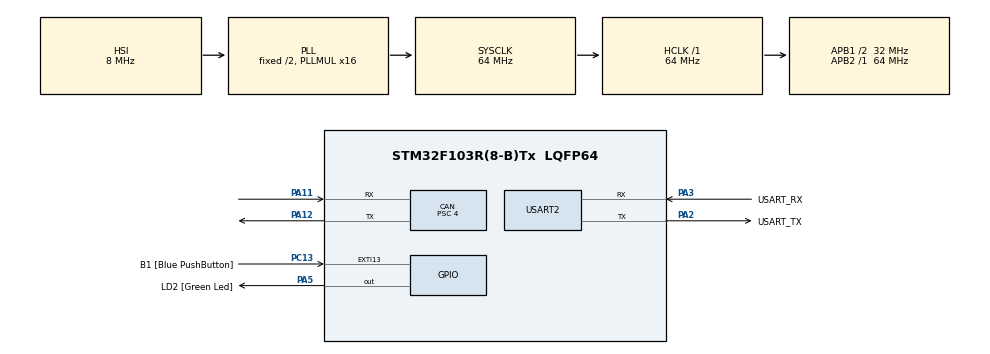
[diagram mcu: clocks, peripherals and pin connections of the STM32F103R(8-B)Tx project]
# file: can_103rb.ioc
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CAN.BS1=CAN_BS1_13TQ
CAN.BS2=CAN_BS2_2TQ
CAN.CalculateBaudRate=500000
CAN.CalculateTimeBit=2000
CAN.CalculateTimeQuantum=125.0
CAN.Prescaler=4
Mcu.Family=STM32F1
Mcu.Name=STM32F103R(8-B)Tx
Mcu.Package=LQFP64
NVIC.EXTI15_10_IRQn=true\:0\:0\:false\:false\:true\:true\:true\:true
NVIC.PriorityGroup=NVIC_PRIORITYGROUP_4
NVIC.USB_LP_CAN1_RX0_IRQn=true\:0\:0\:false\:false\:true\:true\:true\:true
PA11.Mode=CAN_Activate
PA11.Signal=CAN_RX
PA12.Mode=CAN_Activate
PA12.Signal=CAN_TX
PA13.GPIO_Label=TMS
PA13.Mode=Serial_Wire
PA13.Signal=SYS_JTMS-SWDIO
PA14.GPIO_Label=TCK
PA14.Mode=Serial_Wire
PA14.Signal=SYS_JTCK-SWCLK
PA2.GPIO_Label=USART_TX
PA2.GPIO_Mode=GPIO_MODE_AF_PP
PA2.GPIO_PuPd=GPIO_NOPULL
PA2.GPIO_Speed=GPIO_SPEED_FREQ_LOW
PA2.Mode=Asynchronous
PA2.Signal=USART2_TX
PA3.GPIO_Label=USART_RX
PA3.GPIO_Mode=GPIO_MODE_AF_PP
PA3.GPIO_PuPd=GPIO_NOPULL
PA3.GPIO_Speed=GPIO_SPEED_FREQ_LOW
PA3.Mode=Asynchronous
PA3.Signal=USART2_RX
PA5.GPIO_Label=LD2 [Green Led]
PA5.GPIO_ModeDefaultOutputPP=GPIO_MODE_OUTPUT_PP
PA5.GPIO_PuPd=GPIO_NOPULL
PA5.GPIO_Speed=GPIO_SPEED_FREQ_LOW
PA5.Signal=GPIO_Output
PB3.GPIO_Label=SWO
PB3.Signal=SYS_JTDO-TRACESWO
PC13-TAMPER-RTC.GPIO_Label=B1 [Blue PushButton]
PC13-TAMPER-RTC.GPIO_PuPd=GPIO_NOPULL
PC13-TAMPER-RTC.Signal=GPXTI13
PC14-OSC32_IN.Mode=LSE-External-Oscillator
PC14-OSC32_IN.Signal=RCC_OSC32_IN
PC15-OSC32_OUT.Mode=LSE-External-Oscillator
PC15-OSC32_OUT.Signal=RCC_OSC32_OUT
PD0-OSC_IN.Mode=HSE-External-Clock-Source
PD0-OSC_IN.Signal=RCC_OSC_IN
PD1-OSC_OUT.Mode=HSE-External-Clock-Source
PD1-OSC_OUT.Signal=RCC_OSC_OUT
ProjectManager.HeapSize=0x200
ProjectManager.StackSize=0x400
ProjectManager.TargetToolchain=STM32CubeIDE
RCC.AHBFreq_Value=64000000
RCC.APB1CLKDivider=RCC_HCLK_DIV2
RCC.APB1Freq_Value=32000000
RCC.APB1TimFreq_Value=64000000
RCC.APB2Freq_Value=64000000
RCC.APB2TimFreq_Value=64000000
RCC.HCLKFreq_Value=64000000
RCC.PLLMUL=RCC_PLL_MUL16
RCC.RTCClockSelection=RCC_RTCCLKSOURCE_LSE
RCC.SYSCLKFreq_VALUE=64000000
RCC.SYSCLKSource=RCC_SYSCLKSOURCE_PLLCLK
RCC.USBFreq_Value=64000000
USART2.VirtualMode=VM_ASYNC
board=NUCLEO-F103RB

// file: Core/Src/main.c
/* USER CODE BEGIN Header */
/**
  ******************************************************************************
  * @file           : main.c
  * @brief          : Main program body
  ******************************************************************************
  * @attention
  *
  * Copyright (c) 2025 STMicroelectronics.
  * All rights reserved.
  *
  * This software is licensed under terms that can be found in the LICENSE file
  * in the root directory of this software component.
  * If no LICENSE file comes with this software, it is provided AS-IS.
  *
  ******************************************************************************
  */
/* USER CODE END Header */
#include "main.h"

CAN_HandleTypeDef hcan;

UART_HandleTypeDef huart2;

void SystemClock_Config(void);
static void MX_GPIO_Init(void);
static void MX_USART2_UART_Init(void);
static void MX_CAN_Init(void);
/* USER CODE BEGIN PFP */
static void CAN_ConfigFilter_AcceptAll(void);
static void log(const char *s){ HAL_UART_Transmit(&huart2,(uint8_t*)s,strlen(s),100); }
/* USER CODE END PFP */

int main(void)
{

  /* MCU Configuration--------------------------------------------------------*/

  /* Reset of all peripherals, Initializes the Flash interface and the Systick. */
  HAL_Init();

  /* Configure the system clock */
  SystemClock_Config();

  /* Initialize all configured peripherals */
  MX_GPIO_Init();
  MX_USART2_UART_Init();
  MX_CAN_Init();
  /* USER CODE BEGIN 2 */
  CAN_ConfigFilter_AcceptAll();
  HAL_CAN_Start(&hcan);
  HAL_CAN_ActivateNotification(&hcan, CAN_IT_RX_FIFO0_MSG_PENDING);

  CAN_TxHeaderTypeDef txh = {0};
  txh.StdId = 0x321;      // 11-bit
  txh.ExtId = 0;
  txh.IDE   = CAN_ID_STD;
  txh.RTR   = CAN_RTR_DATA;
  txh.DLC   = 8;
  uint8_t txdata[8] = {'H','E','L','L','O','_','1','0'};
  uint32_t mail;
  /* USER CODE END 2 */

  /* Infinite loop */
  /* USER CODE BEGIN WHILE */
  while (1)
  {
	  if (HAL_CAN_AddTxMessage(&hcan, &txh, txdata, &mail) == HAL_OK){
		  log("[F103 TX] id=0x321 data=HELLO_10\r\n");
	  } else {
		  log("[F103 TX] enqueue fail\r\n");
	  }
	  HAL_Delay(1000);
    /* USER CODE END WHILE */

  }
}

void SystemClock_Config(void)
{
  RCC_OscInitTypeDef RCC_OscInitStruct = {0};
  RCC_ClkInitTypeDef RCC_ClkInitStruct = {0};

  /** Initializes the RCC Oscillators according to the specified parameters
  * in the RCC_OscInitTypeDef structure.
  */
  RCC_OscInitStruct.OscillatorType = RCC_OSCILLATORTYPE_HSI;
  RCC_OscInitStruct.HSIState = RCC_HSI_ON;
  RCC_OscInitStruct.HSICalibrationValue = RCC_HSICALIBRATION_DEFAULT;
  RCC_OscInitStruct.PLL.PLLState = RCC_PLL_ON;
  RCC_OscInitStruct.PLL.PLLSource = RCC_PLLSOURCE_HSI_DIV2;
  RCC_OscInitStruct.PLL.PLLMUL = RCC_PLL_MUL16;
  if (HAL_RCC_OscConfig(&RCC_OscInitStruct) != HAL_OK)
  {
    Error_Handler();
  }

  /** Initializes the CPU, AHB and APB buses clocks
  */
  RCC_ClkInitStruct.ClockType = RCC_CLOCKTYPE_HCLK|RCC_CLOCKTYPE_SYSCLK
                              |RCC_CLOCKTYPE_PCLK1|RCC_CLOCKTYPE_PCLK2;
  RCC_ClkInitStruct.SYSCLKSource = RCC_SYSCLKSOURCE_PLLCLK;
  RCC_ClkInitStruct.AHBCLKDivider = RCC_SYSCLK_DIV1;
  RCC_ClkInitStruct.APB1CLKDivider = RCC_HCLK_DIV2;
  RCC_ClkInitStruct.APB2CLKDivider = RCC_HCLK_DIV1;

  if (HAL_RCC_ClockConfig(&RCC_ClkInitStruct, FLASH_LATENCY_2) != HAL_OK)
  {
    Error_Handler();
  }
}

static void MX_CAN_Init(void)
{

  hcan.Instance = CAN1;
  hcan.Init.Prescaler = 4;
  hcan.Init.Mode = CAN_MODE_NORMAL;
  hcan.Init.SyncJumpWidth = CAN_SJW_1TQ;
  hcan.Init.TimeSeg1 = CAN_BS1_13TQ;
  hcan.Init.TimeSeg2 = CAN_BS2_2TQ;
  hcan.Init.TimeTriggeredMode = DISABLE;
  hcan.Init.AutoBusOff = DISABLE;
  hcan.Init.AutoWakeUp = DISABLE;
  hcan.Init.AutoRetransmission = DISABLE;
  hcan.Init.ReceiveFifoLocked = DISABLE;
  hcan.Init.TransmitFifoPriority = DISABLE;
  if (HAL_CAN_Init(&hcan) != HAL_OK)
  {
    Error_Handler();
  }

}

static void MX_USART2_UART_Init(void)
{

  huart2.Instance = USART2;
  huart2.Init.BaudRate = 115200;
  huart2.Init.WordLength = UART_WORDLENGTH_8B;
  huart2.Init.StopBits = UART_STOPBITS_1;
  huart2.Init.Parity = UART_PARITY_NONE;
  huart2.Init.Mode = UART_MODE_TX_RX;
  huart2.Init.HwFlowCtl = UART_HWCONTROL_NONE;
  huart2.Init.OverSampling = UART_OVERSAMPLING_16;
  if (HAL_UART_Init(&huart2) != HAL_OK)
  {
    Error_Handler();
  }

}

static void MX_GPIO_Init(void)
{
  GPIO_InitTypeDef GPIO_InitStruct = {0};

  /* GPIO Ports Clock Enable */
  __HAL_RCC_GPIOC_CLK_ENABLE();
  __HAL_RCC_GPIOD_CLK_ENABLE();
  __HAL_RCC_GPIOA_CLK_ENABLE();
  __HAL_RCC_GPIOB_CLK_ENABLE();

  /*Configure GPIO pin Output Level */
  HAL_GPIO_WritePin(LD2_GPIO_Port, LD2_Pin, GPIO_PIN_RESET);

  /*Configure GPIO pin : B1_Pin */
  GPIO_InitStruct.Pin = B1_Pin;
  GPIO_InitStruct.Mode = GPIO_MODE_IT_RISING;
  GPIO_InitStruct.Pull = GPIO_NOPULL;
  HAL_GPIO_Init(B1_GPIO_Port, &GPIO_InitStruct);

  /*Configure GPIO pin : LD2_Pin */
  GPIO_InitStruct.Pin = LD2_Pin;
  GPIO_InitStruct.Mode = GPIO_MODE_OUTPUT_PP;
  GPIO_InitStruct.Pull = GPIO_NOPULL;
  GPIO_InitStruct.Speed = GPIO_SPEED_FREQ_LOW;
  HAL_GPIO_Init(LD2_GPIO_Port, &GPIO_InitStruct);

  /* EXTI interrupt init*/
  HAL_NVIC_SetPriority(EXTI15_10_IRQn, 0, 0);
  HAL_NVIC_EnableIRQ(EXTI15_10_IRQn);

}

/* USER CODE BEGIN 4 */
static void CAN_ConfigFilter_AcceptAll(void)
{
    CAN_FilterTypeDef f = {0};
    f.FilterActivation = ENABLE;
    f.FilterBank       = 0;
    f.FilterFIFOAssignment = CAN_FILTER_FIFO0;
    f.FilterIdHigh     = 0x0000;
    f.FilterIdLow      = 0x0000;
    f.FilterMaskIdHigh = 0x0000;
    f.FilterMaskIdLow  = 0x0000;
    f.FilterMode       = CAN_FILTERMODE_IDMASK;
    f.FilterScale      = CAN_FILTERSCALE_32BIT;
    HAL_CAN_ConfigFilter(&hcan, &f);
}

void HAL_CAN_RxFifo0MsgPendingCallback(CAN_HandleTypeDef *hcanx)
{
    CAN_RxHeaderTypeDef rxh;
    uint8_t data[8];
    if (HAL_CAN_GetRxMessage(hcanx, CAN_RX_FIFO0, &rxh, data) == HAL_OK){
        char buf[96];
        int n = snprintf(buf,sizeof(buf), "[F103 RX] id=0x%03lX dlc=%lu data:",
                         (unsigned long)rxh.StdId, (unsigned long)rxh.DLC);
        HAL_UART_Transmit(&huart2,(uint8_t*)buf,n,100);
        for (uint32_t i=0;i<rxh.DLC;i++){
            n = snprintf(buf,sizeof(buf)," %02X", data[i]);
            HAL_UART_Transmit(&huart2,(uint8_t*)buf,n,100);
        }
        log("\r\n");
    }
}
/* USER CODE END 4 */

void Error_Handler(void)
{
  __disable_irq();
  while (1)
  {
  }
}
